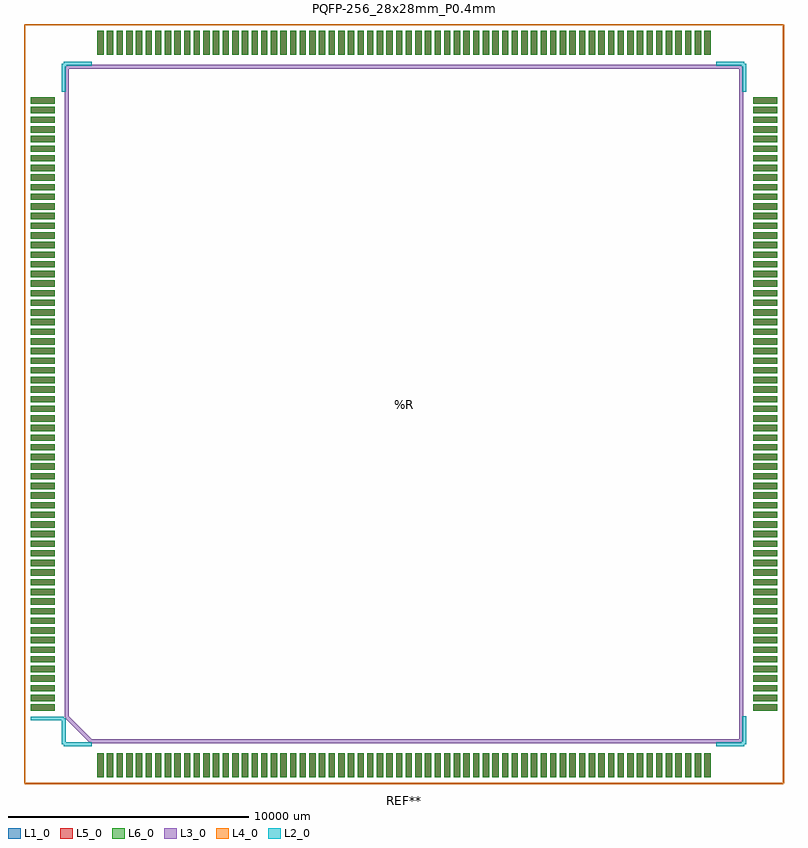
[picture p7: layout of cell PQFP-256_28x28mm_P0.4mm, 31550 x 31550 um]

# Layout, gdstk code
import gdstk
lib = gdstk.Library(unit=1e-6, precision=1e-09)
def R(c, l, rs):  # rectangles x0, y0, x1, y1
    for r in rs: c.add(gdstk.rectangle(r[:2], r[2:], *l))
def A(c, l, x, y, w, h, nx, ny, dx, dy):  # array of equal rectangles
    R(c, l, [(x+i*dx, y+j*dy, x+i*dx+w, y+j*dy+h) for i in range(nx) for j in range(ny)])
L1_0 = (1, 0)
L2_0 = (2, 0)
L3_0 = (3, 0)
L4_0 = (4, 0)
L5_0 = (5, 0)
L6_0 = (6, 0)

pqfp_256_28x28mm_p0_4mm = lib.new_cell('PQFP-256_28x28mm_P0.4mm')
A(pqfp_256_28x28mm_p0_4mm, L1_0, -12730, -15500, 260, 1000, 64, 2, 400, 30000)
A(pqfp_256_28x28mm_p0_4mm, L1_0, -15500, -12730, 1000, 260, 1, 64, 0, 400)
A(pqfp_256_28x28mm_p0_4mm, L1_0, 14500, -12730, 1000, 260, 1, 64, 0, 400)
A(pqfp_256_28x28mm_p0_4mm, L5_0, -12730, -15500, 260, 1000, 64, 2, 400, 30000)
A(pqfp_256_28x28mm_p0_4mm, L5_0, -15500, -12730, 1000, 260, 1, 64, 0, 400)
A(pqfp_256_28x28mm_p0_4mm, L5_0, 14500, -12730, 1000, 260, 1, 64, 0, 400)
A(pqfp_256_28x28mm_p0_4mm, L6_0, -12730, -15500, 260, 1000, 64, 2, 400, 30000)
A(pqfp_256_28x28mm_p0_4mm, L6_0, -15500, -12730, 1000, 260, 1, 64, 0, 400)
A(pqfp_256_28x28mm_p0_4mm, L6_0, 14500, -12730, 1000, 260, 1, 64, 0, 400)
pqfp_256_28x28mm_p0_4mm.add(gdstk.FlexPath([(-13000,-14000),(14000,-14000)], 150, ends="flush", simple_path=True, layer=3, datatype=0))  # L3_0
pqfp_256_28x28mm_p0_4mm.add(gdstk.FlexPath([(14000,-14000),(14000,14000)], 150, ends="flush", simple_path=True, layer=3, datatype=0))  # L3_0
pqfp_256_28x28mm_p0_4mm.add(gdstk.FlexPath([(14000,14000),(-14000,14000)], 150, ends="flush", simple_path=True, layer=3, datatype=0))  # L3_0
pqfp_256_28x28mm_p0_4mm.add(gdstk.FlexPath([(-14000,14000),(-14000,-13000)], 150, ends="flush", simple_path=True, layer=3, datatype=0))  # L3_0
pqfp_256_28x28mm_p0_4mm.add(gdstk.FlexPath([(-14000,-13000),(-13000,-14000)], 150, ends="flush", simple_path=True, layer=3, datatype=0))  # L3_0
pqfp_256_28x28mm_p0_4mm.add(gdstk.FlexPath([(-15750,-15750),(-15750,15750)], 50, ends="flush", simple_path=True, layer=4, datatype=0))  # L4_0
pqfp_256_28x28mm_p0_4mm.add(gdstk.FlexPath([(15750,-15750),(15750,15750)], 50, ends="flush", simple_path=True, layer=4, datatype=0))  # L4_0
pqfp_256_28x28mm_p0_4mm.add(gdstk.FlexPath([(-15750,-15750),(15750,-15750)], 50, ends="flush", simple_path=True, layer=4, datatype=0))  # L4_0
pqfp_256_28x28mm_p0_4mm.add(gdstk.FlexPath([(-15750,15750),(15750,15750)], 50, ends="flush", simple_path=True, layer=4, datatype=0))  # L4_0
pqfp_256_28x28mm_p0_4mm.add(gdstk.FlexPath([(-14125,-14125),(-14125,-13050)], 150, ends="flush", simple_path=True, layer=2, datatype=0))  # L2_0
pqfp_256_28x28mm_p0_4mm.add(gdstk.FlexPath([(14125,-14125),(14125,-12955)], 150, ends="flush", simple_path=True, layer=2, datatype=0))  # L2_0
pqfp_256_28x28mm_p0_4mm.add(gdstk.FlexPath([(14125,14125),(14125,12955)], 150, ends="flush", simple_path=True, layer=2, datatype=0))  # L2_0
pqfp_256_28x28mm_p0_4mm.add(gdstk.FlexPath([(-14125,14125),(-14125,12955)], 150, ends="flush", simple_path=True, layer=2, datatype=0))  # L2_0
pqfp_256_28x28mm_p0_4mm.add(gdstk.FlexPath([(-14125,-14125),(-12955,-14125)], 150, ends="flush", simple_path=True, layer=2, datatype=0))  # L2_0
pqfp_256_28x28mm_p0_4mm.add(gdstk.FlexPath([(-14125,14125),(-12955,14125)], 150, ends="flush", simple_path=True, layer=2, datatype=0))  # L2_0
pqfp_256_28x28mm_p0_4mm.add(gdstk.FlexPath([(14125,14125),(12955,14125)], 150, ends="flush", simple_path=True, layer=2, datatype=0))  # L2_0
pqfp_256_28x28mm_p0_4mm.add(gdstk.FlexPath([(14125,-14125),(12955,-14125)], 150, ends="flush", simple_path=True, layer=2, datatype=0))  # L2_0
pqfp_256_28x28mm_p0_4mm.add(gdstk.FlexPath([(-14125,-13050),(-15500,-13050)], 150, ends="flush", simple_path=True, layer=2, datatype=0))  # L2_0
pqfp_256_28x28mm_p0_4mm.add(gdstk.Label('REF**', (0,-16500), layer=2, texttype=0))
pqfp_256_28x28mm_p0_4mm.add(gdstk.Label('PQFP-256_28x28mm_P0.4mm', (0,16500), layer=3, texttype=0))
pqfp_256_28x28mm_p0_4mm.add(gdstk.Label('%R', (0,0), layer=3, texttype=0))

lib.write_gds('PQFP-256_28x28mm_P0.4mm.gds')
